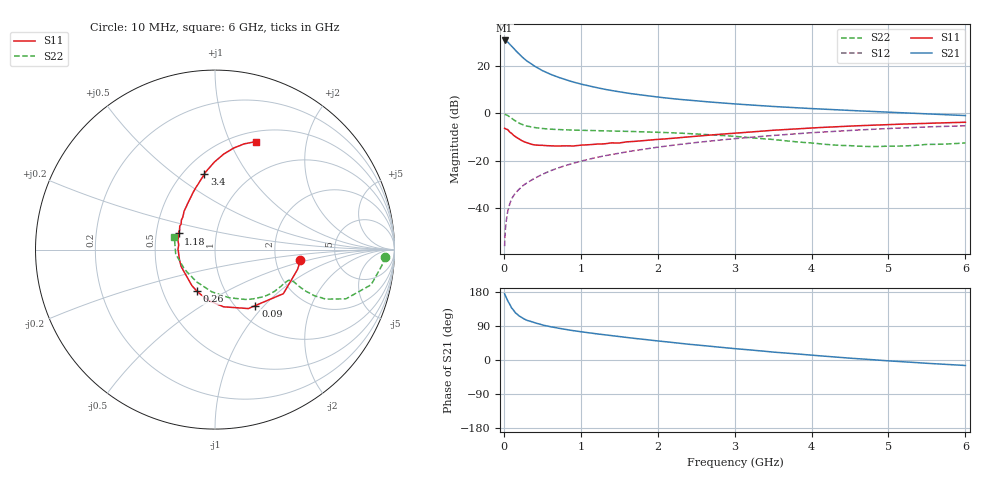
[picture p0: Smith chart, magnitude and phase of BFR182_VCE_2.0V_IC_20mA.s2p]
! Infineon Technologies  Discrete & RF Semiconductors
! BFR182
! VCE =  2.0 V,  IC =  20 mA
! Common Emitter S-Parameters:  Nov 2015
# GHz  S  MA  R  50
!  f  S11  S21  S12  S22
! GHz  MAG  ANG  MAG  ANG  MAG  ANG  MAG  ANG
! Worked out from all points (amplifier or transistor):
!   210 points, 10 MHz to 6 GHz, reference 50 ohm
!   highest |S21| = 30.5 dB at 10 MHz (marker M1)
!   |S21| within 3 dB of that: start of sweep to 119.3 MHz
!   unconditionally stable (mu >= 1): 451.6 MHz to 2.61 GHz
!   at 185 MHz: K = 0.74, MSG = 28.8 dB, |S12| = -32.4 dB
!   at 1.52 GHz: K = 1.07, MAG = 11.2 dB, |S12| = -16.7 dB
!   at 6 GHz: K = 0.91, MSG = 2.1 dB, |S12| = -5.3 dB
!   S11 on the Smith chart (normalised r, x): 10 MHz: 2.77, -0.43; 90 MHz: 1.22, -0.89; 260 MHz: 0.74, -0.36; 1.18 GHz: 0.65, +0.12; 3.4 GHz: 0.63, +0.65; 6 GHz: 0.61, +1.25
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0.01  0.4793 -7.1  33.61 174.7  0.0016 86.2  0.9473 -2.4
0.02  0.473 -13.5  33.09 169.7  0.0036 84.5  0.9343 -5.4
0.05  0.4532 -32.8  31.18 156.0  0.0085 77.6  0.8916 -12.7
0.09  0.3845 -54.2  26.67 141.9  0.0143 72.8  0.8005 -18.8
0.1  0.3774 -60.5  25.84 137.7  0.0157 72.1  0.7794 -20.6
0.15  0.3223 -81.5  20.91 124.5  0.0208 68.9  0.6787 -24.0
0.2  0.286 -97.2  17.29 116.1  0.0253 69.5  0.6127 -24.9
0.26  0.2519 -113.9  14.04 108.7  0.0309 70.2  0.5586 -24.6
0.3  0.2384 -122.7  12.43 104.7  0.0341 70.8  0.5337 -24.2
0.4  0.2145 -141.0  9.675 98.2  0.0426 71.9  0.4965 -23.1
0.5  0.2106 -153.5  7.827 92.4  0.0515 72.6  0.4744 -22.2
0.7  0.2036 -174.1  5.723 84.2  0.0698 73.2  0.451 -22.3
0.82  0.2055 178.0  4.93 80.1  0.0808 72.9  0.4439 -22.7
1.02  0.2133 164.8  4.01 74.1  0.0993 72.3  0.4348 -24.4
1.18  0.2219 156.1  3.507 69.8  0.1145 71.6  0.4284 -26.1
1.6  0.2491 138.8  2.638 59.3  0.1539 68.3  0.414 -31.6
2.02  0.281 126.1  2.153 49.9  0.1941 64.7  0.3952 -38.4
3.1  0.3881 102.7  1.522 28.4  0.2997 53.4  0.3144 -61.3
3.4  0.4236 98.1  1.412 22.9  0.329 50.0  0.2867 -70.3
4.1  0.4968 89.2  1.222 11.2  0.396 41.4  0.2268 -98.8
5.1  0.5818 78.6  1.032 -3.5  0.4828 28.5  0.202 -152.6
6  0.643 69.3  0.888 -14.5  0.5414 15.7  0.237 163.0
